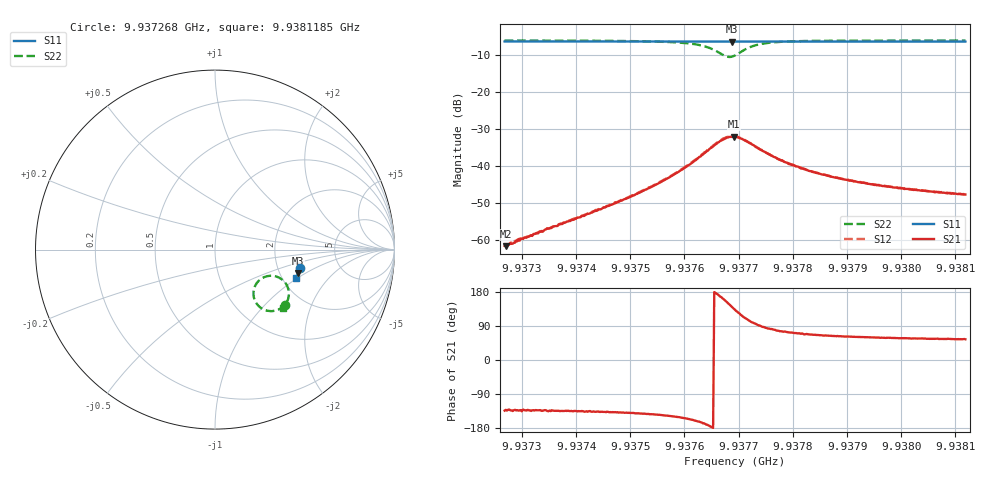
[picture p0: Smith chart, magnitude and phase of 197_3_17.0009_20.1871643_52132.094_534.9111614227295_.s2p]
#  HZ  S  RI  R  50.00
! Rohde & Schwarz Vector Network Analyzer
! Rohde-Schwarz,ZNB20-2Port,1311601062101988,3.16
! Created: UTC 3/20/2024, 11:00:55 PM
! freq[Hz]  re:S11  im:S11  re:S21  im:S21  re:S12  im:S12  re:S22  im:S22
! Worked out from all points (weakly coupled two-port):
!   401 points, 9.937268 GHz to 9.9381185 GHz, reference 50 ohm
!   highest |S21| = -32.03 dB at 9.9376911 GHz (marker M1); lowest = -61.6 dB at 9.9372701 GHz (marker M2)
!   lowest |S11| = -6.4 dB at 9.9376869 GHz (marker M3), VSWR 2.84, Z = 125 - j42.4 ohm
!   |S11| at or under -10 dB: nowhere
!   |S22| runs from -10.5 to -6.0 dB; largest |S21 - S12| = 0.0011
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9.93726802e9  0.4722 -0.1044  -0.000574 -0.000605  -0.000592 -0.000598  0.3907 -0.3083
9.93727015e9  0.472 -0.1045  -0.00055 -0.000619  -0.000553 -0.000643  0.3908 -0.3084
9.93729141e9  0.4718 -0.106  -0.000647 -0.00071  -0.000692 -0.000736  0.3889 -0.3102
9.93730417e9  0.4713 -0.1069  -0.000727 -0.000799  -0.000742 -0.000788  0.3877 -0.3112
9.93741047e9  0.4693 -0.1141  -0.00149 -0.00151  -0.00155 -0.00147  0.376 -0.3212
9.93749339e9  0.4675 -0.1197  -0.00276 -0.00241  -0.00283 -0.0024  0.3604 -0.331
9.93755293e9  0.4659 -0.1238  -0.00481 -0.00343  -0.00494 -0.00337  0.3399 -0.3391
9.9375997e9  0.4646 -0.1271  -0.00841 -0.00419  -0.00865 -0.00415  0.3077 -0.3428
9.93763797e9  0.4629 -0.1296  -0.0148 -0.00309  -0.0152 -0.00265  0.2559 -0.3252
9.93765286e9  0.4621 -0.1303  -0.0184 -0.000279  -0.0189 0.000189  0.23 -0.298
9.93766774e9  0.4613 -0.1308  -0.0215 0.00531  -0.0217 0.00627  0.2142 -0.2486
9.93767837e9  0.4609 -0.1307  -0.0215 0.0111  -0.0215 0.012  0.2229 -0.2036
9.93768687e9  0.4607 -0.1307  -0.0193 0.0156  -0.0193 0.0166  0.2464 -0.1713
9.93769113e9  0.4608 -0.1307  -0.0179 0.0175  -0.0174 0.0185  0.2626 -0.1593
9.93769325e9  0.4609 -0.1308  -0.0169 0.0184  -0.0165 0.0192  0.2713 -0.1548
9.93771664e9  0.4616 -0.1317  -0.00592 0.0203  -0.00521 0.0207  0.3594 -0.1575
9.93774215e9  0.462 -0.1338  0.000425 0.0164  0.000722 0.0166  0.4007 -0.1998
9.9377868e9  0.4614 -0.1372  0.00299 0.0108  0.00325 0.0109  0.4117 -0.2494
9.9378357e9  0.4601 -0.1407  0.00328 0.00772  0.00348 0.00772  0.4069 -0.2761
9.93790799e9  0.4585 -0.1456  0.00305 0.00554  0.00317 0.00555  0.3982 -0.2963
9.93797816e9  0.4568 -0.1504  0.00275 0.00447  0.00287 0.00448  0.391 -0.3079
9.93811848e9  0.4529 -0.1594  0.00239 0.00337  0.00247 0.00333  0.3796 -0.3226
